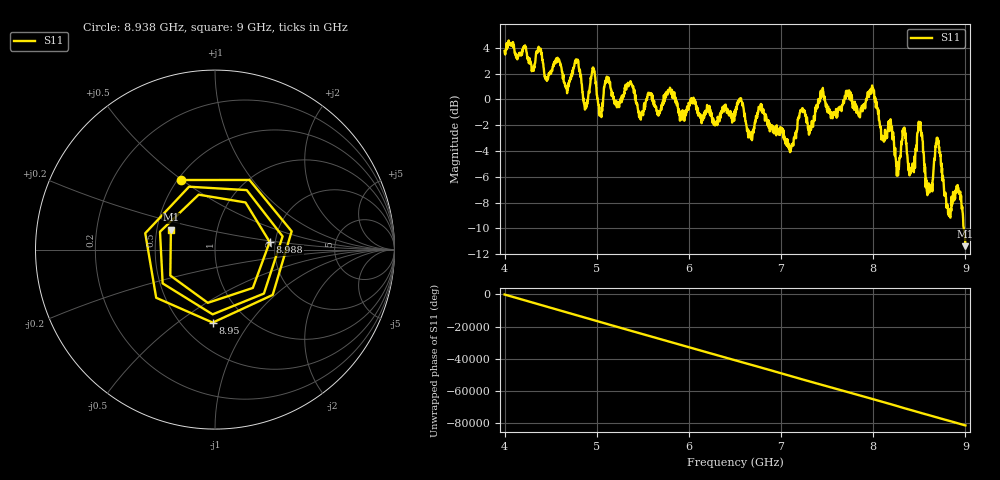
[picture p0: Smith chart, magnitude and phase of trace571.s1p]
! Created with skrf 1.8.0 (http://scikit-rf.org).
# Hz S RI R 50.0
!freq ReS11 ImS11
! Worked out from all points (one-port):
!   1601 points, 4 GHz to 9 GHz, reference 50 ohm
!   lowest |S11| = -11.4 dB at 9 GHz (marker M1), VSWR 1.74, Z = 29.6 + j7.09 ohm
!   |S11| at or under -10 dB: 8.982441 GHz to end of sweep
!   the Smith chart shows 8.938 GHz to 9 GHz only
!   S11 on the Smith chart (normalised r, x): 8.938 GHz: 0.52, +0.50; 8.95 GHz: 0.70, -0.68; 8.988 GHz: 1.87, +0.18; 9 GHz: 0.59, +0.14
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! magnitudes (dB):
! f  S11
! 4 GHz  3.8
! 4.625 GHz  2.2
! 4.788 GHz  2.9
! 4.878 GHz  -0.5
! 4.959 GHz  2.4
! 5.034 GHz  -1.1
! 5.112 GHz  1.4
! 5.25 GHz  -0.3
! 5.875 GHz  -0.3
! 6.5 GHz  -1.2
! 7.125 GHz  -3.5
! 7.434 GHz  0.1
! 7.75 GHz  0.3
! 7.991 GHz  0.9
! 8.1 GHz  -3.0
! 8.197 GHz  -2.2
! 8.256 GHz  -5.9
! 8.328 GHz  -2.3
! 8.375 GHz  -4.8
! 8.428 GHz  -5.0
! 8.506 GHz  -2.1
! 8.594 GHz  -7.2
! 8.7 GHz  -3.0
! 8.812 GHz  -8.8
! 8.938 GHz  -7.3
! 8.95 GHz  -7.8
! 8.988 GHz  -10.2
! 9 GHz  -11.4
